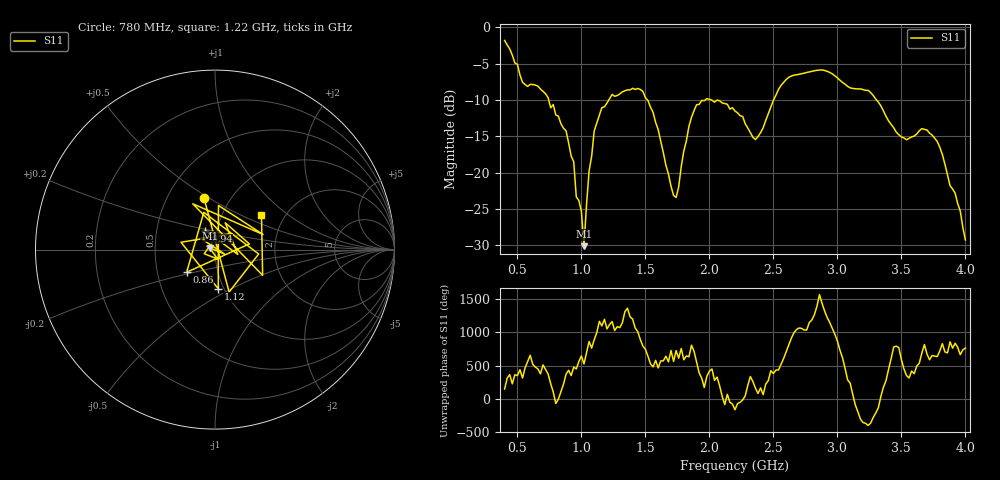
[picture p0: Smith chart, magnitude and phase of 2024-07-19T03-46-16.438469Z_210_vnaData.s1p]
!Created with skrf (http://scikit-rf.org).
# Hz S RI R 50.0
!freq ReS11 ImS11
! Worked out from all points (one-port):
!   181 points, 400 MHz to 4 GHz, reference 50 ohm
!   lowest |S11| = -30.2 dB at 1.02 GHz (marker M1), VSWR 1.06, Z = 47.1 + j0.88 ohm
!   |S11| at or under -10 dB: 744.7 MHz to 1.214 GHz (469.3 MHz wide, 47.9 % of centre); 2.015 GHz to 2.501 GHz (485.9 MHz wide, 21.5 % of centre); 3.306 GHz to end of sweep (the widest 3 of 4)
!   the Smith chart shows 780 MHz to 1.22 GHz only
!   S11 on the Smith chart (normalised r, x): 780 MHz: 0.76, +0.48; 860 MHz: 0.71, -0.19; 940 MHz: 0.88, +0.19; 1.12 GHz: 0.94, -0.43; 1.22 GHz: 1.53, +0.66
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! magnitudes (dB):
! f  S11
! 400 MHz  -1.8
! 540 MHz  -7.6
! 780 MHz  -10.6
! 860 MHz  -13.9
! 940 MHz  -18.5
! 960 MHz  -23.4
! 1 GHz  -25.3
! 1.02 GHz  -30.2
! 1.06 GHz  -19.8
! 1.12 GHz  -13.2
! 1.22 GHz  -9.8
! 1.3 GHz  -9.2
! 1.48 GHz  -8.8
! 1.6 GHz  -14.1
! 1.72 GHz  -23.2
! 1.76 GHz  -22.0
! 1.84 GHz  -13.6
! 1.9 GHz  -10.6
! 2.2 GHz  -11.5
! 2.36 GHz  -15.4
! 2.54 GHz  -8.5
! 2.66 GHz  -6.6
! 2.9 GHz  -5.9
! 3.1 GHz  -8.3
! 3.24 GHz  -8.7
! 3.56 GHz  -15.3
! 3.78 GHz  -15.7
! 4 GHz  -29.3
